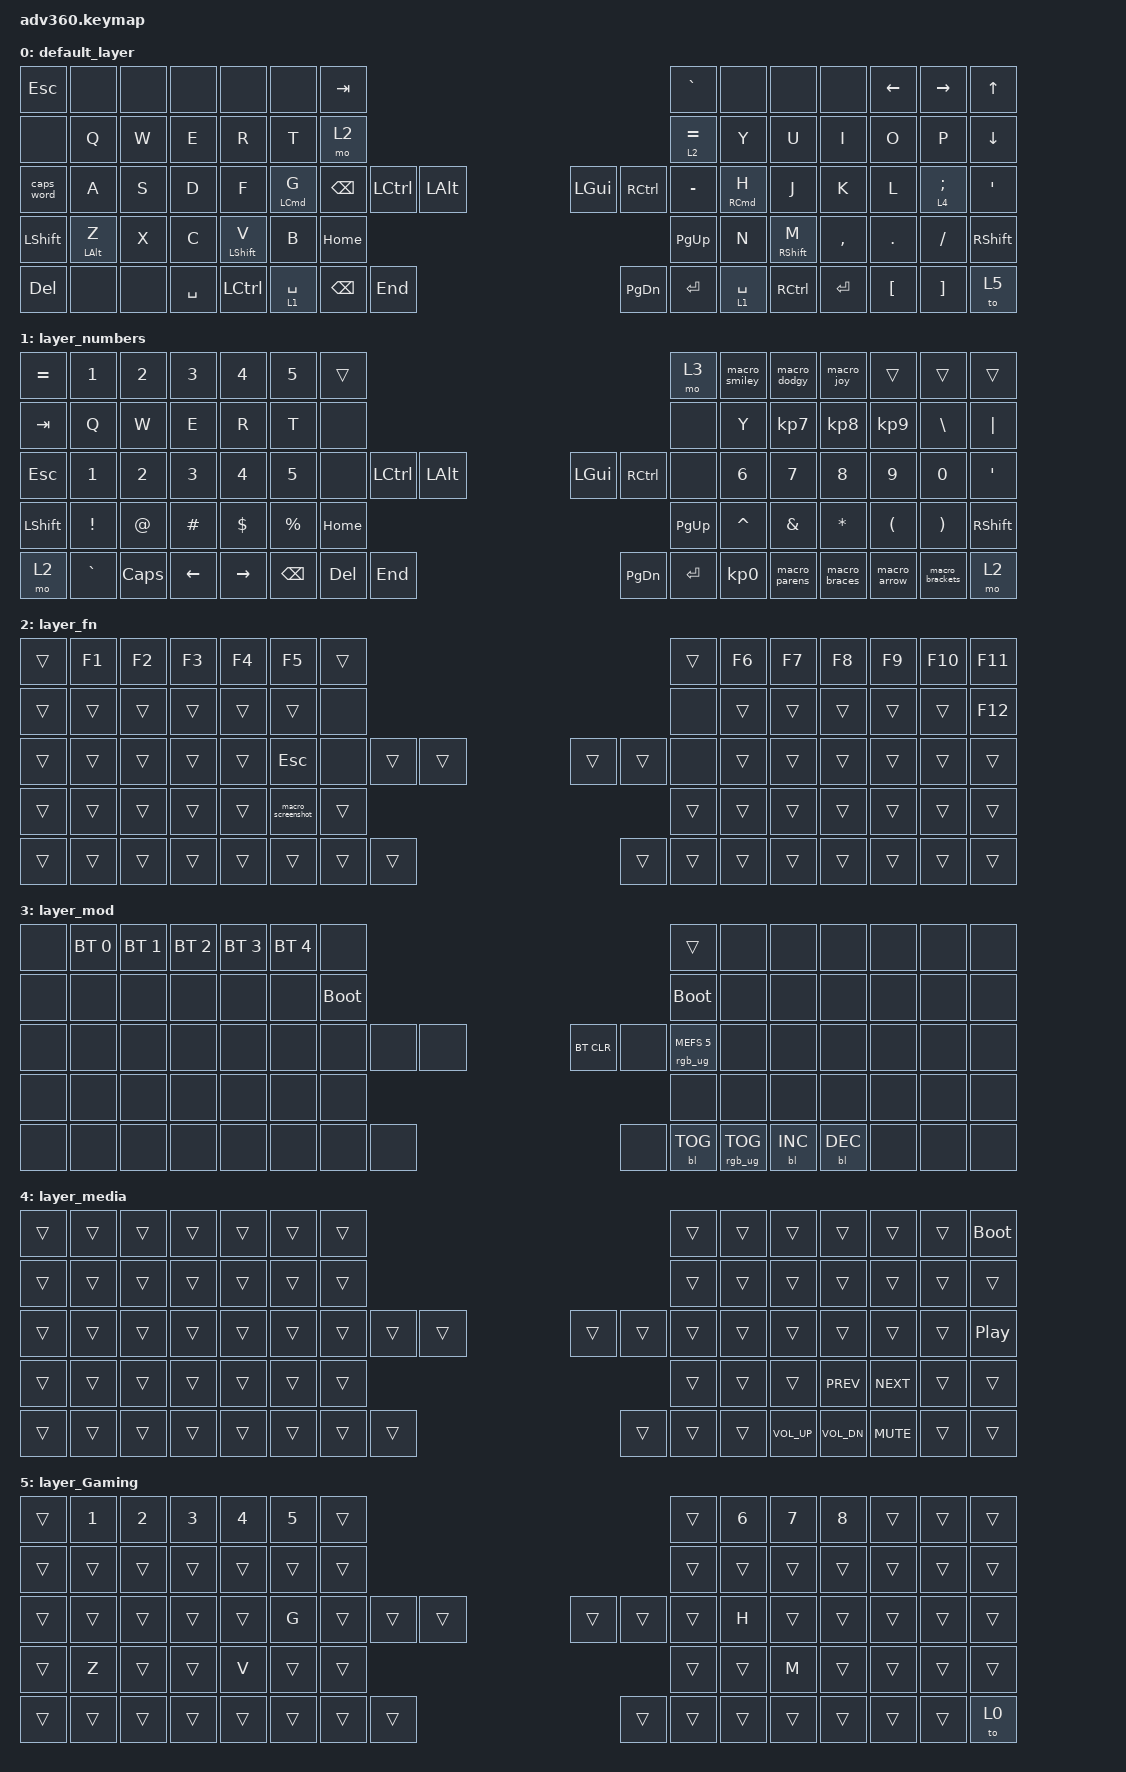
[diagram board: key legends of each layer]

/*
 * Copyright (c) 2020 The ZMK Contributors
 *
 * SPDX-License-Identifier: MIT
 */


/* THIS FILE WAS GENERATED!
 *
 * This file was generated automatically. You may or may not want to
 * edit it directly.
 */

#include <behaviors.dtsi>
#include <dt-bindings/zmk/keys.h>
#include <dt-bindings/zmk/bt.h>
#include <dt-bindings/zmk/rgb.h>
#include <dt-bindings/zmk/backlight.h>

/ {
  behaviors {
    #include "macros.dtsi"
    #include "version.dtsi"

    hm: homerow_mods {
        compatible = "zmk,behavior-hold-tap";
        label = "HOMEROW_MODS";
        #binding-cells = <2>;
        tapping-term-ms = <200>;
        quick_tap_ms = <175>;
        flavor = "tap-preferred";
        bindings = <&kp>, <&kp>;
    };
  };

    keymap {
        compatible = "zmk,keymap";


        default_layer {
            bindings = <
    &kp ESC       &none   &none      &none         &none               &none                  &kp TAB                                                                   &kp GRAVE                &none         &none      &none  &kp LEFT        &kp RIGHT     &kp UP
      &none       &kp Q   &kp W      &kp E         &kp R               &kp T                    &mo 2                                                                 &lt 2 EQUAL                &kp Y         &kp U      &kp I     &kp O            &kp P   &kp DOWN
 &caps_word       &kp A   &kp S      &kp D         &kp F  &hm LEFT_COMMAND G            &kp BACKSPACE      &kp LCTRL  &kp LALT                   &kp LGUI  &kp RCTRL    &kp MINUS  &hm RIGHT_COMMAND H         &kp J      &kp K     &kp L  &lt 4 SEMICOLON    &kp SQT
  &kp LSHFT  &hm LALT Z   &kp X      &kp C  &hm LSHIFT V               &kp B                                          &kp HOME                  &kp PG_UP                                        &kp N  &hm RSHIFT M  &kp COMMA   &kp DOT         &kp FSLH  &kp RSHFT
 &kp DELETE       &none   &none  &kp SPACE     &kp LCTRL                                  &lt 1 SPACE  &kp BACKSPACE   &kp END                  &kp PG_DN  &kp ENTER  &lt 1 SPACE                          &kp RCTRL  &kp ENTER  &kp LBKT         &kp RBKT      &to 5
            >;
        };

        layer_numbers {
            bindings = <
 &kp EQUAL           &kp N1       &kp N2     &kp N3      &kp N4       &kp N5              &trans                                                                 &mo 3  &macro_smiley   &macro_dodgy     &macro_joy                &trans                 &trans     &trans
   &kp TAB            &kp Q        &kp W      &kp E       &kp R        &kp T               &none                                                                 &none          &kp Y      &kp KP_N7      &kp KP_N8             &kp KP_N9          &kp BACKSLASH   &kp PIPE
   &kp ESC           &kp N1       &kp N2     &kp N3      &kp N4       &kp N5               &none  &kp LCTRL  &kp LALT                   &kp LGUI  &kp RCTRL      &none         &kp N6         &kp N7         &kp N8                &kp N9                 &kp N0    &kp SQT
 &kp LSHFT  &kp EXCLAMATION  &kp AT_SIGN  &kp POUND  &kp DOLLAR  &kp PERCENT                                 &kp HOME                  &kp PG_UP                            &kp CARET  &kp AMPERSAND       &kp STAR  &kp LEFT_PARENTHESIS  &kp RIGHT_PARENTHESIS  &kp RSHFT
     &mo 2        &kp GRAVE     &kp CAPS   &kp LEFT   &kp RIGHT                         &kp BSPC    &kp DEL   &kp END                  &kp PG_DN  &kp ENTER  &kp KP_N0                 &macro_parens  &macro_braces          &macro_arrow        &macro_brackets      &mo 2
            >;
        };

        layer_fn {
            bindings = <
 &trans  &kp F1  &kp F2  &kp F3  &kp F4             &kp F5            &trans                                                  &trans  &kp F6  &kp F7  &kp F8  &kp F9  &kp F10  &kp F11
 &trans  &trans  &trans  &trans  &trans             &trans             &none                                                   &none  &trans  &trans  &trans  &trans   &trans  &kp F12
 &trans  &trans  &trans  &trans  &trans            &kp ESC             &none  &trans  &trans                  &trans  &trans   &none  &trans  &trans  &trans  &trans   &trans   &trans
 &trans  &trans  &trans  &trans  &trans  &macro_screenshot                            &trans                  &trans                  &trans  &trans  &trans  &trans   &trans   &trans
 &trans  &trans  &trans  &trans  &trans                               &trans  &trans  &trans                  &trans  &trans  &trans          &trans  &trans  &trans   &trans   &trans
            >;
        };

        layer_mod {
            bindings = <
  &none  &bt BT_SEL 0  &bt BT_SEL 1  &bt BT_SEL 2  &bt BT_SEL 3  &bt BT_SEL 4                  &none                                                                          &trans   &none       &none       &none   &none   &none   &none
  &none         &none         &none         &none         &none         &none            &bootloader                                                                     &bootloader   &none       &none       &none   &none   &none   &none
  &none         &none         &none         &none         &none         &none                  &none   &none   &none                  &bt BT_CLR       &none  &rgb_ug RGB_MEFS_CMD 5   &none       &none       &none   &none   &none   &none
  &none         &none         &none         &none         &none         &none                                  &none                       &none                                       &none       &none       &none   &none   &none   &none
  &none         &none         &none         &none         &none                                &none   &none   &none                       &none  &bl BL_TOG         &rgb_ug RGB_TOG          &bl BL_INC  &bl BL_DEC   &none   &none   &none
            >;
        };

        layer_media {
            bindings = <
 &trans  &trans  &trans  &trans  &trans  &trans            &trans                                                  &trans  &trans        &trans        &trans      &trans  &trans       &bootloader
 &trans  &trans  &trans  &trans  &trans  &trans            &trans                                                  &trans  &trans        &trans        &trans      &trans  &trans            &trans
 &trans  &trans  &trans  &trans  &trans  &trans            &trans  &trans  &trans                  &trans  &trans  &trans  &trans        &trans        &trans      &trans  &trans  &kp C_PLAY_PAUSE
 &trans  &trans  &trans  &trans  &trans  &trans                            &trans                  &trans                  &trans        &trans    &kp C_PREV  &kp C_NEXT  &trans            &trans
 &trans  &trans  &trans  &trans  &trans                    &trans  &trans  &trans                  &trans  &trans  &trans          &kp C_VOL_UP  &kp C_VOL_DN  &kp C_MUTE  &trans            &trans
            >;
        };

        layer_Gaming {
            bindings = <
 &trans  &kp NUMBER_1  &kp NUMBER_2  &kp NUMBER_3  &kp NUMBER_4  &kp NUMBER_5            &trans                                                  &trans  &kp NUMBER_6  &kp NUMBER_7  &kp NUMBER_8  &trans  &trans  &trans
 &trans        &trans        &trans        &trans        &trans        &trans            &trans                                                  &trans        &trans        &trans        &trans  &trans  &trans  &trans
 &trans        &trans        &trans        &trans        &trans         &kp G            &trans  &trans  &trans                  &trans  &trans  &trans         &kp H        &trans        &trans  &trans  &trans  &trans
 &trans         &kp Z        &trans        &trans         &kp V        &trans                            &trans                  &trans                        &trans         &kp M        &trans  &trans  &trans  &trans
 &trans        &trans        &trans        &trans        &trans                          &trans  &trans  &trans                  &trans  &trans  &trans                      &trans        &trans  &trans  &trans   &to 0
            >;
        };

    };
};
